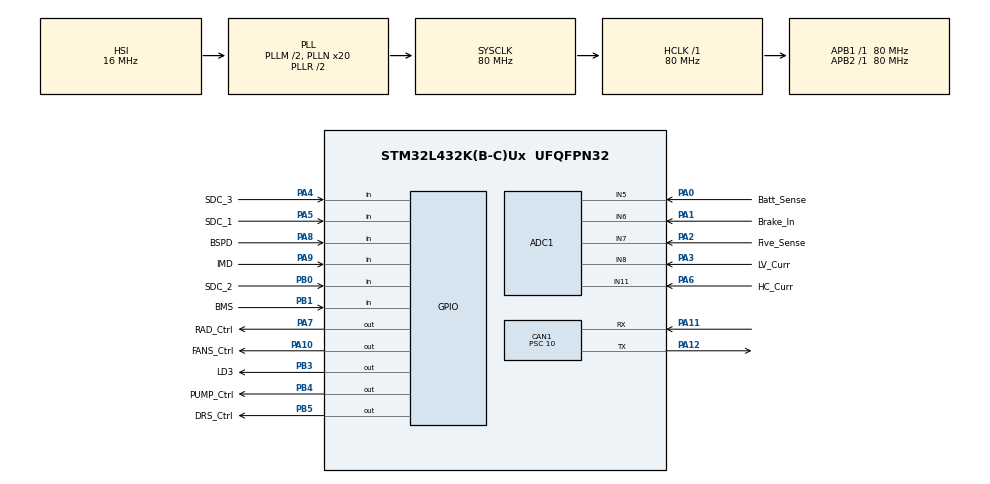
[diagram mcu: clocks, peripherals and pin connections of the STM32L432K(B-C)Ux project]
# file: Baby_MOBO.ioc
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ADC1.Channel-0\#ChannelRegularConversion=ADC_CHANNEL_5
ADC1.NbrOfConversionFlag=1
ADC1.OffsetNumber-0\#ChannelRegularConversion=ADC_OFFSET_NONE
ADC1.Rank-0\#ChannelRegularConversion=1
ADC1.SamplingTime-0\#ChannelRegularConversion=ADC_SAMPLETIME_2CYCLES_5
ADC1.master=1
CAN1.BS1=CAN_BS1_13TQ
CAN1.BS2=CAN_BS2_2TQ
CAN1.CalculateBaudRate=500000
CAN1.CalculateTimeBit=2000
CAN1.CalculateTimeQuantum=125.0
CAN1.Prescaler=10
FREERTOS.Tasks01=defaultTask,24,128,StartDefaultTask,Default,NULL,Dynamic,NULL,NULL;LED_Blink,24,128,LED_BlinkTask,Default,NULL,Static,LED_BlinkBuffer,LED_BlinkControlBlock;CANManager,24,128,CAN_ManagerTask,As weak,NULL,Static,CANManagerBuffer,CANManagerControlBlock;IOManager,24,128,IOManagerTask,As weak,NULL,Static,IOManagerBuffer,IOManagerControlBlock
Mcu.Family=STM32L4
Mcu.Name=STM32L432K(B-C)Ux
Mcu.Package=UFQFPN32
NVIC.PriorityGroup=NVIC_PRIORITYGROUP_4
NVIC.TIM6_DAC_IRQn=true\:15\:0\:false\:false\:true\:false\:false\:true\:true
NVIC.TimeBase=TIM6_DAC_IRQn
NVIC.TimeBaseIP=TIM6
PA0.GPIO_Label=Batt_Sense
PA0.Signal=ADCx_IN5
PA1.GPIO_Label=Brake_In
PA1.Signal=ADCx_IN6
PA10.GPIO_Label=FANS_Ctrl
PA10.GPIO_PuPd=GPIO_PULLDOWN
PA10.Signal=GPIO_Output
PA11.Mode=CAN_Activate
PA11.Signal=CAN1_RX
PA12.Mode=CAN_Activate
PA12.Signal=CAN1_TX
PA2.GPIO_Label=Five_Sense
PA2.Signal=ADCx_IN7
PA3.GPIO_Label=LV_Curr
PA3.Signal=ADCx_IN8
PA4.GPIO_Label=SDC_3
PA4.GPIO_PuPd=GPIO_PULLUP
PA4.Signal=GPIO_Input
PA5.GPIO_Label=SDC_1
PA5.GPIO_PuPd=GPIO_PULLUP
PA5.Signal=GPIO_Input
PA6.GPIO_Label=HC_Curr
PA6.Signal=ADCx_IN11
PA7.GPIO_Label=RAD_Ctrl
PA7.GPIO_PuPd=GPIO_PULLDOWN
PA7.Signal=GPIO_Output
PA8.GPIO_Label=BSPD
PA8.GPIO_PuPd=GPIO_PULLUP
PA8.Signal=GPIO_Input
PA9.GPIO_Label=IMD
PA9.GPIO_PuPd=GPIO_PULLUP
PA9.Signal=GPIO_Input
PB0.GPIO_Label=SDC_2
PB0.GPIO_PuPd=GPIO_PULLUP
PB0.Signal=GPIO_Input
PB1.GPIO_Label=BMS
PB1.GPIO_PuPd=GPIO_PULLUP
PB1.Signal=GPIO_Input
PB3\ (JTDO-TRACESWO).GPIO_Label=LD3
PB3\ (JTDO-TRACESWO).Signal=GPIO_Output
PB4\ (NJTRST).GPIO_Label=PUMP_Ctrl
PB4\ (NJTRST).GPIO_PuPd=GPIO_PULLDOWN
PB4\ (NJTRST).Signal=GPIO_Output
PB5.GPIO_Label=DRS_Ctrl
PB5.GPIO_PuPd=GPIO_PULLDOWN
PB5.Signal=GPIO_Output
ProjectManager.HeapSize=0x200
ProjectManager.StackSize=0x400
ProjectManager.TargetToolchain=Makefile
RCC.ADCFreq_Value=32000000
RCC.AHBFreq_Value=80000000
RCC.APB1Freq_Value=80000000
RCC.APB1TimFreq_Value=80000000
RCC.APB2Freq_Value=80000000
RCC.APB2TimFreq_Value=80000000
RCC.CortexFreq_Value=80000000
RCC.HCLKFreq_Value=80000000
RCC.HSE_VALUE=8000000
RCC.HSI48_VALUE=48000000
RCC.HSI_VALUE=16000000
RCC.LSE_VALUE=32768
RCC.MSI_VALUE=4000000
RCC.PLLM=2
RCC.PLLN=20
RCC.PLLSourceVirtual=RCC_PLLSOURCE_HSI
RCC.RCC_MCO1Source=RCC_MCO1SOURCE_HSI
RCC.SYSCLKFreq_VALUE=80000000
RCC.SYSCLKSource=RCC_SYSCLKSOURCE_PLLCLK
RCC.USBFreq_Value=32000000
RCC.VCOOutputFreq_Value=160000000
SH.ADCx_IN11.0=ADC1_IN11,IN11-Single-Ended
SH.ADCx_IN5.0=ADC1_IN5,IN5-Single-Ended
SH.ADCx_IN6.0=ADC1_IN6,IN6-Single-Ended
SH.ADCx_IN7.0=ADC1_IN7,IN7-Single-Ended
SH.ADCx_IN8.0=ADC1_IN8,IN8-Single-Ended
VP_CRC_VS_CRC.Mode=CRC_Activate
VP_FREERTOS_VS_CMSIS_V2.Mode=CMSIS_V2
VP_SYS_VS_tim6.Mode=TIM6
board=custom

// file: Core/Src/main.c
/* USER CODE BEGIN Header */
/**
  ******************************************************************************
  * @file           : main.c
  * @brief          : Main program body
  ******************************************************************************
  * @attention
  *
  * Copyright (c) 2026 STMicroelectronics.
  * All rights reserved.
  *
  * This software is licensed under terms that can be found in the LICENSE file
  * in the root directory of this software component.
  * If no LICENSE file comes with this software, it is provided AS-IS.
  *
  ******************************************************************************
  */
/* USER CODE END Header */
#include "main.h"
#include "cmsis_os.h"

/* USER CODE BEGIN Includes */
#include "config_manager.h"
#include "error_manager.h"
#include "state_machine.h"
#include "power_manager.h"
#include "sensor_manager.h"
#include "safety_monitor.h"
#include "can_manager.h"
#include "coolant_pump.h"
#include "watchdog.h"

/* USER CODE END Includes */

typedef StaticTask_t osStaticThreadDef_t;

ADC_HandleTypeDef hadc1;

CAN_HandleTypeDef hcan1;

CRC_HandleTypeDef hcrc;

/* Definitions for defaultTask */
osThreadId_t defaultTaskHandle;
const osThreadAttr_t defaultTask_attributes = {
  .name = "defaultTask",
  .stack_size = 128 * 4,
  .priority = (osPriority_t) osPriorityNormal,
};
/* Definitions for LED_Blink */
osThreadId_t LED_BlinkHandle;
uint32_t LED_BlinkBuffer[ 128 ];
osStaticThreadDef_t LED_BlinkControlBlock;
const osThreadAttr_t LED_Blink_attributes = {
  .name = "LED_Blink",
  .cb_mem = &LED_BlinkControlBlock,
  .cb_size = sizeof(LED_BlinkControlBlock),
  .stack_mem = &LED_BlinkBuffer[0],
  .stack_size = sizeof(LED_BlinkBuffer),
  .priority = (osPriority_t) osPriorityNormal,
};
/* Definitions for can_messages */
osThreadId_t can_messagesHandle;
uint32_t can_messagesBuffer[ 128 ];
osStaticThreadDef_t can_messagesControlBlock;
const osThreadAttr_t can_messages_attributes = {
  .name = "can_messages",
  .cb_mem = &can_messagesControlBlock,
  .cb_size = sizeof(can_messagesControlBlock),
  .stack_mem = &can_messagesBuffer[0],
  .stack_size = sizeof(can_messagesBuffer),
  .priority = (osPriority_t) osPriorityNormal,
};
/* USER CODE BEGIN PV */
/* IWDG handle is owned by watchdog.c (started inside Watchdog_Init). */

/* New task handles. Created in USER CODE BEGIN RTOS_THREADS. */
static osThreadId_t s_can_task_handle;
static osThreadId_t s_power_task_handle;
static osThreadId_t s_sensor_task_handle;
static osThreadId_t s_safety_task_handle;
static osThreadId_t s_watchdog_task_handle;

static const osThreadAttr_t s_can_task_attr = {
    .name = "CAN_Mgr", .stack_size = 1024, .priority = (osPriority_t)osPriorityHigh,
};
static const osThreadAttr_t s_power_task_attr = {
    .name = "PowerMgr", .stack_size = 512, .priority = (osPriority_t)osPriorityAboveNormal,
};
static const osThreadAttr_t s_sensor_task_attr = {
    .name = "SensorMgr", .stack_size = 512, .priority = (osPriority_t)osPriorityNormal,
};
static const osThreadAttr_t s_safety_task_attr = {
    .name = "SafetyMon", .stack_size = 384, .priority = (osPriority_t)osPriorityHigh,
};
static const osThreadAttr_t s_watchdog_task_attr = {
    .name = "Watchdog", .stack_size = 256, .priority = (osPriority_t)osPriorityRealtime,
};

/* USER CODE END PV */

void SystemClock_Config(void);
static void MX_GPIO_Init(void);
static void MX_CAN1_Init(void);
static void MX_CRC_Init(void);
static void MX_ADC1_Init(void);
void StartDefaultTask(void *argument);
void LED_BlinkTask(void *argument);
void can_messages_task(void *argument);

int main(void)
{

  /* USER CODE BEGIN 1 */
  /* Coming from the bootloader: disable interrupts and quiesce SysTick
   * before HAL_Init reconfigures the core. Mirrors BMS-Firmware-RTOS. */
  __disable_irq();

  SysTick->CTRL = 0;
  SysTick->LOAD = 0;
  SysTick->VAL  = 0;

  /* USER CODE END 1 */

  /* MCU Configuration--------------------------------------------------------*/

  /* Reset of all peripherals, Initializes the Flash interface and the Systick. */
  HAL_Init();

  /* Configure the system clock */
  SystemClock_Config();

  /* Initialize all configured peripherals */
  MX_GPIO_Init();
  MX_CAN1_Init();
  MX_CRC_Init();
  MX_ADC1_Init();
  /* USER CODE BEGIN 2 */
  /* Pre-RTOS calibration. IWDG is started later from Watchdog_Init so the
   * full LSI-tolerance window is available *after* all init and once the
   * RTOS is up — mirrors the BMS firmware order. */
  HAL_ADCEx_Calibration_Start(&hadc1, ADC_SINGLE_ENDED);

  /* USER CODE END 2 */

  /* Init scheduler */
  osKernelInitialize();

  /* USER CODE BEGIN RTOS_MUTEX */
  /* Initialize firmware modules. Order matters:
   *  config -> errors -> state machine -> power -> sensors -> safety -> CAN -> watchdog */
  if (Config_Init()        != HAL_OK) Error_Handler();
  if (ErrorMgr_Init()      != HAL_OK) Error_Handler();
  if (StateMachine_Init()  != HAL_OK) Error_Handler();
  if (PowerMgr_Init()      != HAL_OK) Error_Handler();
  if (Sensor_Init()        != HAL_OK) Error_Handler();
  if (SafetyMonitor_Init() != HAL_OK) Error_Handler();
  if (CoolantPump_Init()   != HAL_OK) Error_Handler();
  if (CAN_Manager_Init()   != HAL_OK) Error_Handler();
  /* Promote out of INIT now that everything is constructed. Safety monitor
   * task will move STANDBY -> ACTIVE once safety inputs are clean. */
  StateMachine_SetState(MOBO_STATE_STANDBY);
  /* USER CODE END RTOS_MUTEX */

  /* Create the thread(s) */
  /* creation of defaultTask */
  defaultTaskHandle = osThreadNew(StartDefaultTask, NULL, &defaultTask_attributes);

  /* creation of LED_Blink */
  LED_BlinkHandle = osThreadNew(LED_BlinkTask, NULL, &LED_Blink_attributes);

  /* creation of can_messages */
  can_messagesHandle = osThreadNew(can_messages_task, NULL, &can_messages_attributes);

  /* USER CODE BEGIN RTOS_THREADS */
  s_can_task_handle      = osThreadNew(CAN_ManagerTask,    NULL, &s_can_task_attr);
  s_power_task_handle    = osThreadNew(PowerMgrTask,       NULL, &s_power_task_attr);
  s_sensor_task_handle   = osThreadNew(SensorTask,         NULL, &s_sensor_task_attr);
  s_safety_task_handle   = osThreadNew(SafetyMonitorTask,  NULL, &s_safety_task_attr);
  /* WatchdogTask intentionally NOT created — watchdog disabled. */
  (void)s_watchdog_task_handle;
  (void)s_watchdog_task_attr;
  if (s_can_task_handle == NULL || s_power_task_handle == NULL ||
      s_sensor_task_handle == NULL || s_safety_task_handle == NULL) {
    Error_Handler();
  }
  /* USER CODE END RTOS_THREADS */

  /* Start scheduler */
  osKernelStart();

  /* We should never get here as control is now taken by the scheduler */

  /* Infinite loop */
  while (1)
  {

  }
}

void SystemClock_Config(void)
{
  RCC_OscInitTypeDef RCC_OscInitStruct = {0};
  RCC_ClkInitTypeDef RCC_ClkInitStruct = {0};

  /** Configure the main internal regulator output voltage
  */
  if (HAL_PWREx_ControlVoltageScaling(PWR_REGULATOR_VOLTAGE_SCALE1) != HAL_OK)
  {
    Error_Handler();
  }

  /** Initializes the RCC Oscillators according to the specified parameters
  * in the RCC_OscInitTypeDef structure.
  */
  RCC_OscInitStruct.OscillatorType = RCC_OSCILLATORTYPE_HSI;
  RCC_OscInitStruct.HSIState = RCC_HSI_ON;
  RCC_OscInitStruct.HSICalibrationValue = RCC_HSICALIBRATION_DEFAULT;
  RCC_OscInitStruct.PLL.PLLState = RCC_PLL_ON;
  RCC_OscInitStruct.PLL.PLLSource = RCC_PLLSOURCE_HSI;
  RCC_OscInitStruct.PLL.PLLM = 2;
  RCC_OscInitStruct.PLL.PLLN = 20;
  RCC_OscInitStruct.PLL.PLLP = RCC_PLLP_DIV7;
  RCC_OscInitStruct.PLL.PLLQ = RCC_PLLQ_DIV2;
  RCC_OscInitStruct.PLL.PLLR = RCC_PLLR_DIV2;
  if (HAL_RCC_OscConfig(&RCC_OscInitStruct) != HAL_OK)
  {
    Error_Handler();
  }

  /** Initializes the CPU, AHB and APB buses clocks
  */
  RCC_ClkInitStruct.ClockType = RCC_CLOCKTYPE_HCLK|RCC_CLOCKTYPE_SYSCLK
                              |RCC_CLOCKTYPE_PCLK1|RCC_CLOCKTYPE_PCLK2;
  RCC_ClkInitStruct.SYSCLKSource = RCC_SYSCLKSOURCE_PLLCLK;
  RCC_ClkInitStruct.AHBCLKDivider = RCC_SYSCLK_DIV1;
  RCC_ClkInitStruct.APB1CLKDivider = RCC_HCLK_DIV1;
  RCC_ClkInitStruct.APB2CLKDivider = RCC_HCLK_DIV1;

  if (HAL_RCC_ClockConfig(&RCC_ClkInitStruct, FLASH_LATENCY_4) != HAL_OK)
  {
    Error_Handler();
  }
}

static void MX_ADC1_Init(void)
{

  ADC_ChannelConfTypeDef sConfig = {0};

  /** Common config
  */
  hadc1.Instance = ADC1;
  hadc1.Init.ClockPrescaler = ADC_CLOCK_ASYNC_DIV1;
  hadc1.Init.Resolution = ADC_RESOLUTION_12B;
  hadc1.Init.DataAlign = ADC_DATAALIGN_RIGHT;
  hadc1.Init.ScanConvMode = ADC_SCAN_DISABLE;
  hadc1.Init.EOCSelection = ADC_EOC_SINGLE_CONV;
  hadc1.Init.LowPowerAutoWait = DISABLE;
  hadc1.Init.ContinuousConvMode = DISABLE;
  hadc1.Init.NbrOfConversion = 1;
  hadc1.Init.DiscontinuousConvMode = DISABLE;
  hadc1.Init.ExternalTrigConv = ADC_SOFTWARE_START;
  hadc1.Init.ExternalTrigConvEdge = ADC_EXTERNALTRIGCONVEDGE_NONE;
  hadc1.Init.DMAContinuousRequests = DISABLE;
  hadc1.Init.Overrun = ADC_OVR_DATA_PRESERVED;
  hadc1.Init.OversamplingMode = DISABLE;
  if (HAL_ADC_Init(&hadc1) != HAL_OK)
  {
    Error_Handler();
  }

  /** Configure Regular Channel
  */
  sConfig.Channel = ADC_CHANNEL_5;
  sConfig.Rank = ADC_REGULAR_RANK_1;
  sConfig.SamplingTime = ADC_SAMPLETIME_2CYCLES_5;
  sConfig.SingleDiff = ADC_SINGLE_ENDED;
  sConfig.OffsetNumber = ADC_OFFSET_NONE;
  sConfig.Offset = 0;
  if (HAL_ADC_ConfigChannel(&hadc1, &sConfig) != HAL_OK)
  {
    Error_Handler();
  }

}

static void MX_CAN1_Init(void)
{

  hcan1.Instance = CAN1;
  hcan1.Init.Prescaler = 10;
  hcan1.Init.Mode = CAN_MODE_NORMAL;
  hcan1.Init.SyncJumpWidth = CAN_SJW_1TQ;
  hcan1.Init.TimeSeg1 = CAN_BS1_13TQ;
  hcan1.Init.TimeSeg2 = CAN_BS2_2TQ;
  hcan1.Init.TimeTriggeredMode = DISABLE;
  hcan1.Init.AutoBusOff = DISABLE;
  hcan1.Init.AutoWakeUp = DISABLE;
  hcan1.Init.AutoRetransmission = DISABLE;
  hcan1.Init.ReceiveFifoLocked = DISABLE;
  hcan1.Init.TransmitFifoPriority = DISABLE;
  if (HAL_CAN_Init(&hcan1) != HAL_OK)
  {
    Error_Handler();
  }

}

static void MX_CRC_Init(void)
{

  hcrc.Instance = CRC;
  hcrc.Init.DefaultPolynomialUse = DEFAULT_POLYNOMIAL_ENABLE;
  hcrc.Init.DefaultInitValueUse = DEFAULT_INIT_VALUE_ENABLE;
  hcrc.Init.InputDataInversionMode = CRC_INPUTDATA_INVERSION_NONE;
  hcrc.Init.OutputDataInversionMode = CRC_OUTPUTDATA_INVERSION_DISABLE;
  hcrc.InputDataFormat = CRC_INPUTDATA_FORMAT_BYTES;
  if (HAL_CRC_Init(&hcrc) != HAL_OK)
  {
    Error_Handler();
  }

}

static void MX_GPIO_Init(void)
{
  GPIO_InitTypeDef GPIO_InitStruct = {0};

  /* GPIO Ports Clock Enable */
  __HAL_RCC_GPIOA_CLK_ENABLE();
  __HAL_RCC_GPIOB_CLK_ENABLE();

  /*Configure GPIO pin Output Level */
  HAL_GPIO_WritePin(GPIOA, RAD_Ctrl_Pin|FANS_Ctrl_Pin, GPIO_PIN_RESET);

  /*Configure GPIO pin Output Level */
  HAL_GPIO_WritePin(GPIOB, LD3_Pin|PUMP_Ctrl_Pin|DRS_Ctrl_Pin, GPIO_PIN_RESET);

  /*Configure GPIO pins : SDC_3_Pin SDC_1_Pin BSPD_Pin IMD_Pin */
  GPIO_InitStruct.Pin = SDC_3_Pin|SDC_1_Pin|BSPD_Pin|IMD_Pin;
  GPIO_InitStruct.Mode = GPIO_MODE_INPUT;
  GPIO_InitStruct.Pull = GPIO_PULLUP;
  HAL_GPIO_Init(GPIOA, &GPIO_InitStruct);

  /*Configure GPIO pins : RAD_Ctrl_Pin FANS_Ctrl_Pin */
  GPIO_InitStruct.Pin = RAD_Ctrl_Pin|FANS_Ctrl_Pin;
  GPIO_InitStruct.Mode = GPIO_MODE_OUTPUT_PP;
  GPIO_InitStruct.Pull = GPIO_PULLDOWN;
  GPIO_InitStruct.Speed = GPIO_SPEED_FREQ_LOW;
  HAL_GPIO_Init(GPIOA, &GPIO_InitStruct);

  /*Configure GPIO pins : SDC_2_Pin BMS_Pin */
  GPIO_InitStruct.Pin = SDC_2_Pin|BMS_Pin;
  GPIO_InitStruct.Mode = GPIO_MODE_INPUT;
  GPIO_InitStruct.Pull = GPIO_PULLUP;
  HAL_GPIO_Init(GPIOB, &GPIO_InitStruct);

  /*Configure GPIO pin : LD3_Pin */
  GPIO_InitStruct.Pin = LD3_Pin;
  GPIO_InitStruct.Mode = GPIO_MODE_OUTPUT_PP;
  GPIO_InitStruct.Pull = GPIO_NOPULL;
  GPIO_InitStruct.Speed = GPIO_SPEED_FREQ_LOW;
  HAL_GPIO_Init(LD3_GPIO_Port, &GPIO_InitStruct);

  /*Configure GPIO pins : PUMP_Ctrl_Pin DRS_Ctrl_Pin */
  GPIO_InitStruct.Pin = PUMP_Ctrl_Pin|DRS_Ctrl_Pin;
  GPIO_InitStruct.Mode = GPIO_MODE_OUTPUT_PP;
  GPIO_InitStruct.Pull = GPIO_PULLDOWN;
  GPIO_InitStruct.Speed = GPIO_SPEED_FREQ_LOW;
  HAL_GPIO_Init(GPIOB, &GPIO_InitStruct);

}

/* USER CODE END 4 */

void StartDefaultTask(void *argument)
{
  /* USER CODE BEGIN 5 */
  (void)argument;

  for(;;)
  {
    osDelay(1);
  }
  /* USER CODE END 5 */
}

void LED_BlinkTask(void *argument)
{
  /* USER CODE BEGIN LED_BlinkTask */
  /* Infinite loop */
  for(;;)
  {

    HAL_GPIO_TogglePin(LD3_GPIO_Port, LD3_Pin);

    osDelay(500);

  }
  /* USER CODE END LED_BlinkTask */
}

void can_messages_task(void *argument)
{
  /* USER CODE BEGIN can_messages_task */
  /* Legacy CubeMX-generated task entry retained for ABI but unused; the
   * actual CAN manager runs as `s_can_task_handle` started in USER CODE
   * BEGIN RTOS_THREADS. Park this thread harmlessly. */
  (void)argument;
  for(;;) {
    osDelay(60000);
  }
  /* USER CODE END can_messages_task */
}

void HAL_TIM_PeriodElapsedCallback(TIM_HandleTypeDef *htim)
{
  if (htim->Instance == TIM6)
  {
    HAL_IncTick();
  }
}

void Error_Handler(void)
{
  /* USER CODE BEGIN Error_Handler_Debug */
  /* User can add his own implementation to report the HAL error return state */
  osKernelLock();
  HAL_GPIO_WritePin(LD3_GPIO_Port, LD3_Pin, GPIO_PIN_RESET);
  __disable_irq();
  while (1)
  {
  }
  /* USER CODE END Error_Handler_Debug */
}

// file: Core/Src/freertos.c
/* USER CODE BEGIN Header */
/**
  ******************************************************************************
  * File Name          : freertos.c
  * Description        : Code for freertos applications
  ******************************************************************************
  * @attention
  *
  * Copyright (c) 2026 STMicroelectronics.
  * All rights reserved.
  *
  * This software is licensed under terms that can be found in the LICENSE file
  * in the root directory of this software component.
  * If no LICENSE file comes with this software, it is provided AS-IS.
  *
  ******************************************************************************
  */
/* USER CODE END Header */

#include "FreeRTOS.h"
#include "task.h"
#include "main.h"

/* USER CODE BEGIN Application */

/**
 * @brief FreeRTOS hook called when pvPortMalloc fails. Routed to
 *        Error_Handler so the LD3 strobe pattern surfaces the cause.
 */
void vApplicationMallocFailedHook(void)
{
    Error_Handler();
}

/**
 * @brief FreeRTOS hook called when a task overflows its stack. Routed to
 *        Error_Handler. Both arguments are intentionally unused \u2014 the
 *        strobe just tells us "stack overflow"; pin down the offender by
 *        increasing stack sizes incrementally.
 */
void vApplicationStackOverflowHook(TaskHandle_t xTask, char *pcTaskName)
{
    (void)xTask;
    (void)pcTaskName;
    Error_Handler();
}

/* USER CODE END Application */
